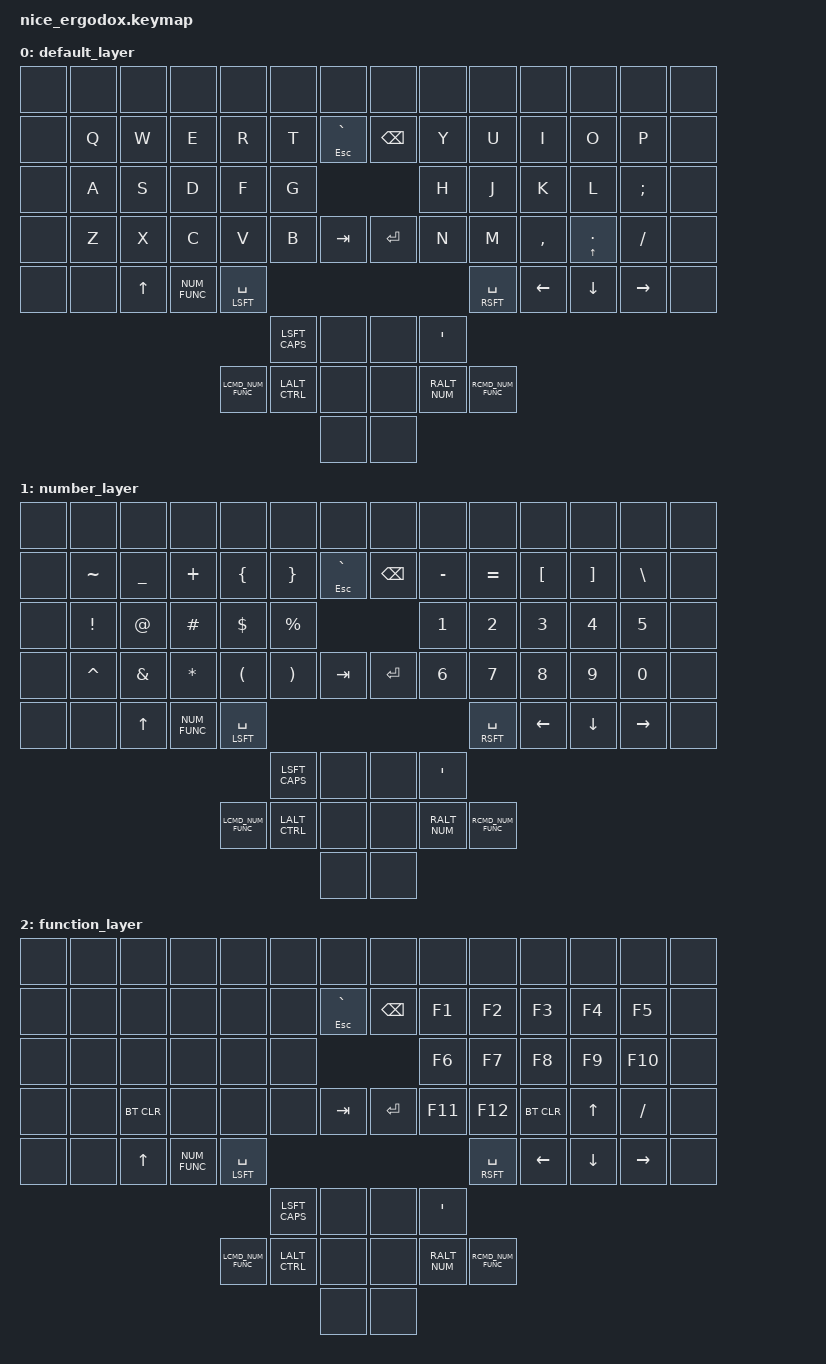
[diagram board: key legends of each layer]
#include <behaviors.dtsi>
#include <dt-bindings/zmk/keys.h>
#include <dt-bindings/zmk/bt.h>
#include <dt-bindings/zmk/outputs.h>

#define DEFAULT 0
#define NONE    0
#define ALPHA   0
#define NUM     1
#define FUNC    2

/ {
    behaviors {
        LSFT_CAPS: LEFT_SHIFT_CAPS {
            compatible = "zmk,behavior-tap-dance";
            label = "LSFT_CAPS";
            #binding-cells = <0>;
            tapping-term-ms = <400>;
            bindings = <&kp LSFT>, <&kp CAPS>;
        };

        NUM_FUNC: NUM_FUNCTION_LAYER {
            compatible = "zmk,behavior-tap-dance";
            label = "NUM_FUNCTION_LAYER";
            #binding-cells = <0>;
            tapping-term-ms = <300>;
            bindings = <&mo NUM>, <&mo FUNC>;
        };

        LALT_CTRL: LALT_CTRL_LAYER {
            compatible = "zmk,behavior-tap-dance";
            label = "LALT_CTRL_LAYER";
            #binding-cells = <0>;
            tapping-term-ms = <300>;
            bindings = <&kp LALT>, <&kp RCTRL>;
        };

        RALT_NUM: RALT_NUM_LAYER {
            compatible = "zmk,behavior-tap-dance";
            label = "ALT_NUM_LAYER";
            #binding-cells = <0>;
            tapping-term-ms = <300>;
            bindings = <&kp RALT>, <&mo NUM>;
        };

        LALT_NUM: LALT_NUM_LAYER {
            compatible = "zmk,behavior-tap-dance";
            label = "ALT_NUM_LAYER";
            #binding-cells = <0>;
            tapping-term-ms = <300>;
            bindings = <&kp LALT>, <&mo NUM>;
        };

        TH: TAP_HOLD_KEYS {
            compatible = "zmk,behavior-hold-tap";
            #binding-cells = <2>;
            tapping-term-ms = <150>;
            quick-tap-ms = <0>;
            flavor = "tap-preferred";
            bindings = <&kp>, <&kp>;
        };

        LCMD_NUM_FUNC: LCMD_NUM_FUNC_LAYER {
            compatible = "zmk,behavior-tap-dance";
            label = "LCMD_NUM_FUNC_LAYER";
            #binding-cells = <0>;
            tapping-term-ms = <300>;
            bindings = <&kp LCMD>, <&mo NUM>, <&mo FUNC>;
        };

        RCMD_NUM_FUNC: RCMD_NUM_FUNC_LAYER {
            compatible = "zmk,behavior-tap-dance";
            label = "RCMD_NUM_FUNC_LAYER";
            #binding-cells = <0>;
            tapping-term-ms = <300>;
            bindings = <&kp RCMD>, <&mo NUM>, <&mo FUNC>;
        };


    };

    keymap {
        compatible = "zmk,keymap";

        default_layer {
            bindings = <
                &none               &none               &none               &none               &none               &none               &none                           &none               &none               &none               &none               &none               &none               &none
                &none               &kp Q               &kp W               &kp E               &kp R               &kp T               &TH ESC GRAVE                   &kp BSPC            &kp Y               &kp U               &kp I               &kp O               &kp P               &none
                &none               &kp A               &kp S               &kp D               &kp F               &kp G                                                                   &kp H               &kp J               &kp K               &kp L               &kp SCLN            &none
                &none               &kp Z               &kp X               &kp C               &kp V               &kp B               &kp TAB                         &kp RET             &kp N               &kp M               &kp CMMA            &TH UP DOT          &kp FSLH            &none
                &none               &none               &kp UP              &NUM_FUNC           &TH LSFT SPC                                                                                                    &TH RSFT SPC        &kp LEFT            &kp DOWN            &kp RIGHT           &none
                                                                                                                    &LSFT_CAPS          &none                           &none               &kp SQT
                                                                                                &LCMD_NUM_FUNC      &LALT_CTRL          &none                           &none               &RALT_NUM           &RCMD_NUM_FUNC
                                                                                                                                        &none                           &none
            >;
        };

        number_layer {
            bindings = <
                &none               &none               &none               &none               &none               &none               &none                           &none               &none               &none               &none               &none               &none               &none
                &none               &kp TILDE           &kp UNDER           &kp PLUS            &kp LBRC            &kp RBRC            &TH ESC GRAVE                   &kp BSPC            &kp MINUS           &kp EQUAL           &kp LBKT            &kp RBKT            &kp BSLH            &none
                &none               &kp EXCL            &kp AT_SIGN         &kp HASH            &kp DLLR            &kp PRCNT                                                               &kp NUM_1           &kp NUM_2           &kp NUM_3           &kp NUM_4           &kp NUM_5           &none
                &none               &kp CARET           &kp AMPS            &kp ASTRK           &kp LPAR            &kp RPAR            &kp TAB                         &kp RET             &kp NUM_6           &kp NUM_7           &kp NUM_8           &kp NUM_9           &kp NUM_0           &none
                &none               &none               &kp UP              &NUM_FUNC           &TH LSFT SPC                                                                                                    &TH RSFT SPC        &kp LEFT            &kp DOWN            &kp RIGHT           &none
                                                                                                                    &LSFT_CAPS          &none                           &none               &kp SQT
                                                                                                &LCMD_NUM_FUNC      &LALT_CTRL          &none                           &none               &RALT_NUM           &RCMD_NUM_FUNC
                                                                                                                                        &none                           &none
            >;
        };

        function_layer {
            bindings = <
                &none               &none               &none               &none               &none               &none               &none                           &none               &none               &none               &none               &none               &none               &none
                &none               &none               &none               &none               &none               &none               &TH ESC GRAVE                   &kp BSPC            &kp F1              &kp F2              &kp F3              &kp F4              &kp F5              &none
                &none               &none               &none               &none               &none               &none                                                                   &kp F6              &kp F7              &kp F8              &kp F9              &kp F10             &none
                &none               &none               &bt BT_CLR          &none               &none               &none               &kp TAB                         &kp RET             &kp F11             &kp F12             &bt BT_CLR          &kp UP              &kp FSLH            &none
                &none               &none               &kp UP              &NUM_FUNC           &TH LSFT SPC                                                                                                    &TH RSFT SPC        &kp LEFT            &kp DOWN            &kp RIGHT           &none
                                                                                                                    &LSFT_CAPS          &none                           &none               &kp SQT
                                                                                                &LCMD_NUM_FUNC      &LALT_CTRL          &none                           &none               &RALT_NUM           &RCMD_NUM_FUNC
                                                                                                                                        &none                           &none
            >;
        };
    };
};
